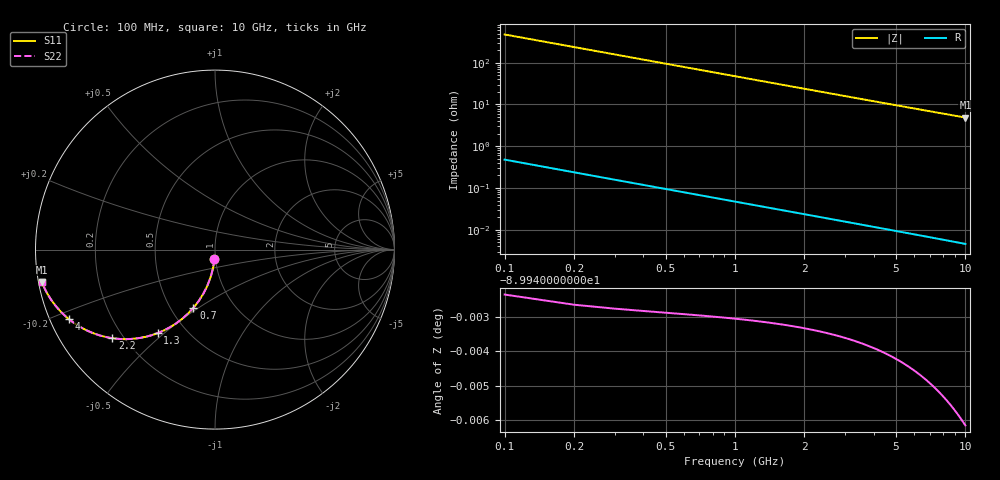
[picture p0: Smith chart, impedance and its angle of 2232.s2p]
# Hz S RI R 50.00
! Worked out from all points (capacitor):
!   100 points, 100 MHz to 10 GHz, reference 50 ohm
!   read as one part in shunt: C = 3.35 pF near 100 MHz
!   lowest |Z| = 4.86 ohm at 10 GHz (marker M1)
!   S11 on the Smith chart (normalised r, x): 100 MHz: 0.99, -0.10; 700 MHz: 0.65, -0.48; 1.3 GHz: 0.35, -0.48; 2.2 GHz: 0.16, -0.36; 4 GHz: 0.05, -0.22; 10 GHz: 0.01, -0.09
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1e8  -0.00281 -0.0525  0.9972 -0.0526  0.9972 -0.0526  -0.00281 -0.0525
2e8  -0.0111 -0.1041  0.9889 -0.1042  0.9889 -0.1042  -0.0111 -0.1041
3e8  -0.0245 -0.154  0.9755 -0.1542  0.9755 -0.1542  -0.0245 -0.154
4e8  -0.0427 -0.2015  0.9573 -0.2018  0.9573 -0.2018  -0.0427 -0.2015
5e8  -0.065 -0.246  0.9349 -0.2463  0.9349 -0.2463  -0.065 -0.246
6e8  -0.091 -0.2869  0.909 -0.2873  0.909 -0.2873  -0.091 -0.2869
7e8  -0.1198 -0.324  0.8801 -0.3245  0.8801 -0.3245  -0.1198 -0.324
8e8  -0.1509 -0.3572  0.8491 -0.3577  0.8491 -0.3577  -0.1509 -0.3572
1e9  -0.2172 -0.4115  0.7828 -0.4122  0.7828 -0.4122  -0.2172 -0.4115
1.3e9  -0.3189 -0.4651  0.6811 -0.466  0.6811 -0.466  -0.3189 -0.4651
1.5e9  -0.3838 -0.4853  0.6161 -0.4863  0.6161 -0.4863  -0.3838 -0.4853
1.8e9  -0.4726 -0.4982  0.5274 -0.4993  0.5274 -0.4993  -0.4726 -0.4982
2.2e9  -0.572 -0.4936  0.4279 -0.495  0.4279 -0.495  -0.572 -0.4936
2.5e9  -0.6329 -0.4807  0.367 -0.4823  0.367 -0.4823  -0.6329 -0.4807
2.8e9  -0.6836 -0.4636  0.3164 -0.4655  0.3164 -0.4655  -0.6836 -0.4636
3.4e9  -0.7608 -0.425  0.2392 -0.4272  0.2392 -0.4272  -0.7608 -0.425
4e9  -0.8146 -0.3868  0.1854 -0.3894  0.1854 -0.3894  -0.8146 -0.3868
4.5e9  -0.8474 -0.3576  0.1526 -0.3606  0.1526 -0.3606  -0.8474 -0.3576
5.1e9  -0.8769 -0.3264  0.1231 -0.3298  0.1231 -0.3298  -0.8769 -0.3264
6.7e9  -0.9245 -0.2614  0.0754 -0.2658  0.0754 -0.2658  -0.9245 -0.2614
8.4e9  -0.9505 -0.2134  0.0494 -0.2191  0.0494 -0.2191  -0.9505 -0.2134
1e10  -0.9646 -0.1809  0.0354 -0.1877  0.0354 -0.1877  -0.9646 -0.1809
